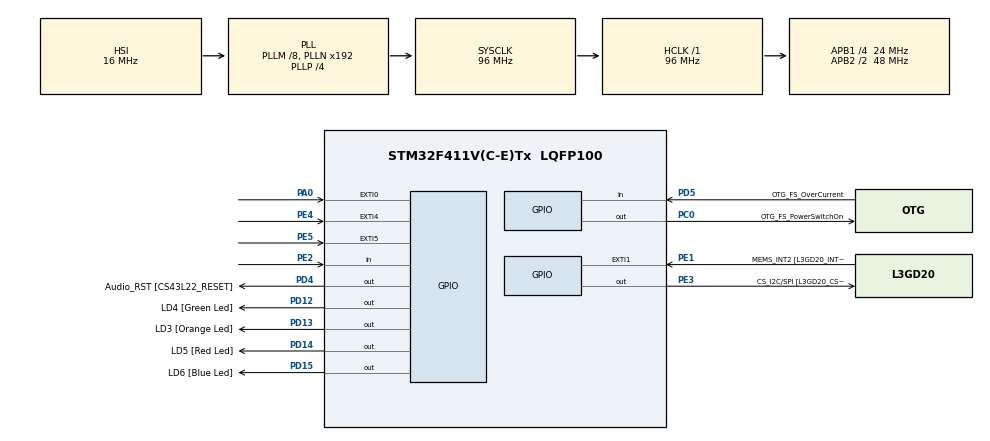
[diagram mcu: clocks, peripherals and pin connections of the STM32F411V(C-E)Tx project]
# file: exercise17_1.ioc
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FREERTOS.BinarySemaphores01=myBinarySem01,Dynamic,NULL
FREERTOS.Tasks01=RedLED,0,128,StartRedLED,Default,NULL,Dynamic,NULL,NULL;GreenLED,0,128,StartGreenLED,Default,NULL,Dynamic,NULL,NULL;BlueLED,0,128,StartBlueLED,Default,NULL,Dynamic,NULL,NULL
Mcu.Family=STM32F4
Mcu.Name=STM32F411V(C-E)Tx
Mcu.Package=LQFP100
NVIC.PriorityGroup=NVIC_PRIORITYGROUP_4
NVIC.TIM1_UP_TIM10_IRQn=true\:0\:0\:false\:false\:true\:false\:false\:true
NVIC.TimeBase=TIM1_UP_TIM10_IRQn
NVIC.TimeBaseIP=TIM1
PA0-WKUP.GPIO_ModeDefaultEXTI=GPIO_MODE_EVT_RISING
PA0-WKUP.Signal=GPXTI0
PA10.GPIO_Label=OTG_FS_ID
PA10.Signal=USB_OTG_FS_ID
PA11.GPIO_Label=OTG_FS_DM
PA11.Signal=USB_OTG_FS_DM
PA12.GPIO_Label=OTG_FS_DP
PA12.Signal=USB_OTG_FS_DP
PA13.GPIO_Label=SWDIO
PA13.Signal=SYS_JTMS-SWDIO
PA14.GPIO_Label=SWCLK
PA14.Signal=SYS_JTCK-SWCLK
PA4.GPIO_Label=I2S3_WS [CS43L22_LRCK]
PA4.GPIO_Mode=GPIO_MODE_AF_PP
PA4.GPIO_PuPd=GPIO_NOPULL
PA4.GPIO_Speed=GPIO_SPEED_FREQ_LOW
PA4.Signal=I2S3_WS
PA5.GPIO_Label=SPI1_SCK [L3GD20_SC/SPC]
PA5.Signal=SPI1_SCK
PA6.GPIO_Label=SPI1_MISO [L3GD20_AS0/SDO]
PA6.Signal=SPI1_MISO
PA7.GPIO_Label=SPI1_MOSI [L3GD20_SDA/SDI/SDO]
PA7.Signal=SPI1_MOSI
PA9.GPIO_Label=VBUS_FS
PA9.Signal=USB_OTG_FS_VBUS
PB10.GPIO_Label=CLK_IN [MP45DT02_CLK]
PB10.Signal=I2S2_CK
PB12.Signal=I2S2_WS
PB3.GPIO_Label=SWO
PB3.Signal=SYS_JTDO-SWO
PB6.GPIO_Label=Audio_SCL [CS43L22_SCL]
PB6.GPIO_Mode=GPIO_MODE_AF_OD
PB6.GPIO_PuPd=GPIO_NOPULL
PB6.GPIO_Speed=GPIO_SPEED_FREQ_LOW
PB6.Signal=I2C1_SCL
PB9.GPIO_Label=Audio_SDA [CS43L22_SDA]
PB9.GPIO_Mode=GPIO_MODE_AF_OD
PB9.GPIO_PuPd=GPIO_NOPULL
PB9.GPIO_Speed=GPIO_SPEED_FREQ_LOW
PB9.Signal=I2C1_SDA
PC0.GPIO_Label=OTG_FS_PowerSwitchOn
PC0.PinState=GPIO_PIN_SET
PC0.Signal=GPIO_Output
PC10.GPIO_Label=I2S3_SCK [CS43L22_SCLK]
PC10.GPIO_Mode=GPIO_MODE_AF_PP
PC10.GPIO_PuPd=GPIO_NOPULL
PC10.GPIO_Speed=GPIO_SPEED_FREQ_LOW
PC10.Signal=I2S3_CK
PC12.GPIO_Label=I2S3_SD [CS43L22_SDIN]
PC12.GPIO_Mode=GPIO_MODE_AF_PP
PC12.GPIO_PuPd=GPIO_NOPULL
PC12.GPIO_Speed=GPIO_SPEED_FREQ_LOW
PC12.Signal=I2S3_SD
PC14-OSC32_IN.GPIO_Label=PC14-OSC32_IN
PC14-OSC32_IN.Signal=RCC_OSC32_IN
PC15-OSC32_OUT.GPIO_Label=PC15-OSC32_OUT
PC15-OSC32_OUT.Signal=RCC_OSC32_OUT
PC3.GPIO_Label=PDM_OUT [MP45DT02_DOUT]
PC3.Signal=I2S2_SD
PC7.GPIO_Label=I2S3_MCK [CS43L22_MCLK]
PC7.GPIO_Mode=GPIO_MODE_AF_PP
PC7.GPIO_PuPd=GPIO_NOPULL
PC7.GPIO_Speed=GPIO_SPEED_FREQ_LOW
PC7.Signal=I2S3_MCK
PD12.GPIO_Label=LD4 [Green Led]
PD12.GPIO_PuPd=GPIO_NOPULL
PD12.GPIO_Speed=GPIO_SPEED_FREQ_LOW
PD12.Signal=GPIO_Output
PD13.GPIO_Label=LD3 [Orange Led]
PD13.GPIO_PuPd=GPIO_NOPULL
PD13.GPIO_Speed=GPIO_SPEED_FREQ_LOW
PD13.Signal=GPIO_Output
PD14.GPIO_Label=LD5 [Red Led]
PD14.GPIO_PuPd=GPIO_NOPULL
PD14.GPIO_Speed=GPIO_SPEED_FREQ_LOW
PD14.Signal=GPIO_Output
PD15.GPIO_Label=LD6 [Blue Led]
PD15.GPIO_PuPd=GPIO_NOPULL
PD15.GPIO_Speed=GPIO_SPEED_FREQ_LOW
PD15.Signal=GPIO_Output
PD4.GPIO_Label=Audio_RST [CS43L22_RESET]
PD4.Signal=GPIO_Output
PD5.GPIO_Label=OTG_FS_OverCurrent
PD5.Signal=GPIO_Input
PE1.GPIO_Label=MEMS_INT2 [L3GD20_INT2]
PE1.GPIO_ModeDefaultEXTI=GPIO_MODE_EVT_RISING
PE1.Signal=GPXTI1
PE2.Signal=GPIO_Input
PE3.GPIO_Label=CS_I2C/SPI [L3GD20_CS_I2C/SPI]
PE3.Signal=GPIO_Output
PE4.GPIO_ModeDefaultEXTI=GPIO_MODE_EVT_RISING
PE4.Signal=GPXTI4
PE5.GPIO_ModeDefaultEXTI=GPIO_MODE_EVT_RISING
PE5.Signal=GPXTI5
PH0\ -\ OSC_IN.GPIO_Label=PH0-OSC_IN
PH0\ -\ OSC_IN.Signal=RCC_OSC_IN
PH1\ -\ OSC_OUT.GPIO_Label=PH1-OSC_OUT
PH1\ -\ OSC_OUT.Signal=RCC_OSC_OUT
ProjectManager.HeapSize=0x200
ProjectManager.StackSize=0x400
ProjectManager.TargetToolchain=STM32CubeIDE
RCC.48MHZClocksFreq_Value=48000000
RCC.AHBFreq_Value=96000000
RCC.APB1CLKDivider=RCC_HCLK_DIV4
RCC.APB1Freq_Value=24000000
RCC.APB1TimFreq_Value=48000000
RCC.APB2CLKDivider=RCC_HCLK_DIV2
RCC.APB2Freq_Value=48000000
RCC.APB2TimFreq_Value=96000000
RCC.CortexFreq_Value=96000000
RCC.HCLKFreq_Value=96000000
RCC.HSE_VALUE=8000000
RCC.HSI_VALUE=16000000
RCC.LSE_VALUE=32768
RCC.PLLI2SM=5
RCC.PLLI2SN=200
RCC.PLLM=8
RCC.PLLP=RCC_PLLP_DIV4
RCC.PLLQ=8
RCC.SYSCLKFreq_VALUE=96000000
RCC.SYSCLKSource=RCC_SYSCLKSOURCE_PLLCLK
RCC.VCOOutputFreq_Value=384000000
VP_FREERTOS_VS_CMSIS_V1.Mode=CMSIS_V1
VP_SYS_VS_tim1.Mode=TIM1
board=STM32F411E-DISCO

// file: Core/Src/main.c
/* USER CODE BEGIN Header */
/**
  ******************************************************************************
  * @file           : main.c
  * @brief          : Main program body
  ******************************************************************************
  * @attention
  *
  * <h2><center>&copy; Copyright (c) 2021 STMicroelectronics.
  * All rights reserved.</center></h2>
  *
  * This software component is licensed by ST under BSD 3-Clause license,
  * the "License"; You may not use this file except in compliance with the
  * License. You may obtain a copy of the License at:
  *                        opensource.org/licenses/BSD-3-Clause
  *
  ******************************************************************************
  */
/* USER CODE END Header */

#include "main.h"
#include "cmsis_os.h"

#define RED GPIO_PIN_14
#define GREEN GPIO_PIN_12
#define BLUE GPIO_PIN_15

osThreadId RedLEDHandle;
osThreadId GreenLEDHandle;
osThreadId BlueLEDHandle;
osSemaphoreId myBinarySem01Handle;

void SystemClock_Config(void);
static void MX_GPIO_Init(void);
void StartRedLED(void const * argument);
void StartGreenLED(void const * argument);
void StartBlueLED(void const * argument);

int main(void)
{

  /* MCU Configuration--------------------------------------------------------*/

  /* Reset of all peripherals, Initializes the Flash interface and the Systick. */
  HAL_Init();

  /* Configure the system clock */
  SystemClock_Config();

  /* Initialize all configured peripherals */
  MX_GPIO_Init();

  /* Create the semaphores(s) */
  /* definition and creation of myBinarySem01 */
  osSemaphoreDef(myBinarySem01);
  myBinarySem01Handle = osSemaphoreCreate(osSemaphore(myBinarySem01), 1);

  /* USER CODE BEGIN RTOS_SEMAPHORES */
  osSemaphoreWait(myBinarySem01Handle, 0);
  /* USER CODE END RTOS_SEMAPHORES */

  /* Create the thread(s) */
  /* definition and creation of RedLED */
  osThreadDef(RedLED, StartRedLED, osPriorityNormal, 0, 128);
  RedLEDHandle = osThreadCreate(osThread(RedLED), NULL);

  /* definition and creation of GreenLED */
  osThreadDef(GreenLED, StartGreenLED, osPriorityNormal, 0, 128);
  GreenLEDHandle = osThreadCreate(osThread(GreenLED), NULL);

  /* definition and creation of BlueLED */
  osThreadDef(BlueLED, StartBlueLED, osPriorityNormal, 0, 128);
  BlueLEDHandle = osThreadCreate(osThread(BlueLED), NULL);

  /* Start scheduler */
  osKernelStart();

  /* We should never get here as control is now taken by the scheduler */

  /* Infinite loop */
  while (1)
  {

  }
}

void SystemClock_Config(void)
{
  RCC_OscInitTypeDef RCC_OscInitStruct = {0};
  RCC_ClkInitTypeDef RCC_ClkInitStruct = {0};

  /** Configure the main internal regulator output voltage
  */
  __HAL_RCC_PWR_CLK_ENABLE();
  __HAL_PWR_VOLTAGESCALING_CONFIG(PWR_REGULATOR_VOLTAGE_SCALE1);
  /** Initializes the CPU, AHB and APB busses clocks
  */
  RCC_OscInitStruct.OscillatorType = RCC_OSCILLATORTYPE_HSI;
  RCC_OscInitStruct.HSIState = RCC_HSI_ON;
  RCC_OscInitStruct.HSICalibrationValue = RCC_HSICALIBRATION_DEFAULT;
  RCC_OscInitStruct.PLL.PLLState = RCC_PLL_ON;
  RCC_OscInitStruct.PLL.PLLSource = RCC_PLLSOURCE_HSI;
  RCC_OscInitStruct.PLL.PLLM = 8;
  RCC_OscInitStruct.PLL.PLLN = 192;
  RCC_OscInitStruct.PLL.PLLP = RCC_PLLP_DIV4;
  RCC_OscInitStruct.PLL.PLLQ = 8;
  if (HAL_RCC_OscConfig(&RCC_OscInitStruct) != HAL_OK)
  {
    Error_Handler();
  }
  /** Initializes the CPU, AHB and APB busses clocks
  */
  RCC_ClkInitStruct.ClockType = RCC_CLOCKTYPE_HCLK|RCC_CLOCKTYPE_SYSCLK
                              |RCC_CLOCKTYPE_PCLK1|RCC_CLOCKTYPE_PCLK2;
  RCC_ClkInitStruct.SYSCLKSource = RCC_SYSCLKSOURCE_PLLCLK;
  RCC_ClkInitStruct.AHBCLKDivider = RCC_SYSCLK_DIV1;
  RCC_ClkInitStruct.APB1CLKDivider = RCC_HCLK_DIV4;
  RCC_ClkInitStruct.APB2CLKDivider = RCC_HCLK_DIV2;

  if (HAL_RCC_ClockConfig(&RCC_ClkInitStruct, FLASH_LATENCY_3) != HAL_OK)
  {
    Error_Handler();
  }
}

static void MX_GPIO_Init(void)
{
  GPIO_InitTypeDef GPIO_InitStruct = {0};

  /* GPIO Ports Clock Enable */
  __HAL_RCC_GPIOE_CLK_ENABLE();
  __HAL_RCC_GPIOC_CLK_ENABLE();
  __HAL_RCC_GPIOH_CLK_ENABLE();
  __HAL_RCC_GPIOA_CLK_ENABLE();
  __HAL_RCC_GPIOB_CLK_ENABLE();
  __HAL_RCC_GPIOD_CLK_ENABLE();

  /*Configure GPIO pin Output Level */
  HAL_GPIO_WritePin(CS_I2C_SPI_GPIO_Port, CS_I2C_SPI_Pin, GPIO_PIN_RESET);

  /*Configure GPIO pin Output Level */
  HAL_GPIO_WritePin(OTG_FS_PowerSwitchOn_GPIO_Port, OTG_FS_PowerSwitchOn_Pin, GPIO_PIN_SET);

  /*Configure GPIO pin Output Level */
  HAL_GPIO_WritePin(GPIOD, LD4_Pin|LD3_Pin|LD5_Pin|LD6_Pin
                          |Audio_RST_Pin, GPIO_PIN_RESET);

  /*Configure GPIO pin : PE2 */
  GPIO_InitStruct.Pin = GPIO_PIN_2;
  GPIO_InitStruct.Mode = GPIO_MODE_INPUT;
  GPIO_InitStruct.Pull = GPIO_NOPULL;
  HAL_GPIO_Init(GPIOE, &GPIO_InitStruct);

  /*Configure GPIO pin : CS_I2C_SPI_Pin */
  GPIO_InitStruct.Pin = CS_I2C_SPI_Pin;
  GPIO_InitStruct.Mode = GPIO_MODE_OUTPUT_PP;
  GPIO_InitStruct.Pull = GPIO_NOPULL;
  GPIO_InitStruct.Speed = GPIO_SPEED_FREQ_LOW;
  HAL_GPIO_Init(CS_I2C_SPI_GPIO_Port, &GPIO_InitStruct);

  /*Configure GPIO pins : PE4 PE5 MEMS_INT2_Pin */
  GPIO_InitStruct.Pin = GPIO_PIN_4|GPIO_PIN_5|MEMS_INT2_Pin;
  GPIO_InitStruct.Mode = GPIO_MODE_EVT_RISING;
  GPIO_InitStruct.Pull = GPIO_NOPULL;
  HAL_GPIO_Init(GPIOE, &GPIO_InitStruct);

  /*Configure GPIO pin : OTG_FS_PowerSwitchOn_Pin */
  GPIO_InitStruct.Pin = OTG_FS_PowerSwitchOn_Pin;
  GPIO_InitStruct.Mode = GPIO_MODE_OUTPUT_PP;
  GPIO_InitStruct.Pull = GPIO_NOPULL;
  GPIO_InitStruct.Speed = GPIO_SPEED_FREQ_LOW;
  HAL_GPIO_Init(OTG_FS_PowerSwitchOn_GPIO_Port, &GPIO_InitStruct);

  /*Configure GPIO pin : PDM_OUT_Pin */
  GPIO_InitStruct.Pin = PDM_OUT_Pin;
  GPIO_InitStruct.Mode = GPIO_MODE_AF_PP;
  GPIO_InitStruct.Pull = GPIO_NOPULL;
  GPIO_InitStruct.Speed = GPIO_SPEED_FREQ_LOW;
  GPIO_InitStruct.Alternate = GPIO_AF5_SPI2;
  HAL_GPIO_Init(PDM_OUT_GPIO_Port, &GPIO_InitStruct);

  /*Configure GPIO pin : PA0 */
  GPIO_InitStruct.Pin = GPIO_PIN_0;
  GPIO_InitStruct.Mode = GPIO_MODE_EVT_RISING;
  GPIO_InitStruct.Pull = GPIO_NOPULL;
  HAL_GPIO_Init(GPIOA, &GPIO_InitStruct);

  /*Configure GPIO pin : I2S3_WS_Pin */
  GPIO_InitStruct.Pin = I2S3_WS_Pin;
  GPIO_InitStruct.Mode = GPIO_MODE_AF_PP;
  GPIO_InitStruct.Pull = GPIO_NOPULL;
  GPIO_InitStruct.Speed = GPIO_SPEED_FREQ_LOW;
  GPIO_InitStruct.Alternate = GPIO_AF6_SPI3;
  HAL_GPIO_Init(I2S3_WS_GPIO_Port, &GPIO_InitStruct);

  /*Configure GPIO pins : SPI1_SCK_Pin SPI1_MISO_Pin SPI1_MOSI_Pin */
  GPIO_InitStruct.Pin = SPI1_SCK_Pin|SPI1_MISO_Pin|SPI1_MOSI_Pin;
  GPIO_InitStruct.Mode = GPIO_MODE_AF_PP;
  GPIO_InitStruct.Pull = GPIO_NOPULL;
  GPIO_InitStruct.Speed = GPIO_SPEED_FREQ_VERY_HIGH;
  GPIO_InitStruct.Alternate = GPIO_AF5_SPI1;
  HAL_GPIO_Init(GPIOA, &GPIO_InitStruct);

  /*Configure GPIO pins : CLK_IN_Pin PB12 */
  GPIO_InitStruct.Pin = CLK_IN_Pin|GPIO_PIN_12;
  GPIO_InitStruct.Mode = GPIO_MODE_AF_PP;
  GPIO_InitStruct.Pull = GPIO_NOPULL;
  GPIO_InitStruct.Speed = GPIO_SPEED_FREQ_LOW;
  GPIO_InitStruct.Alternate = GPIO_AF5_SPI2;
  HAL_GPIO_Init(GPIOB, &GPIO_InitStruct);

  /*Configure GPIO pins : LD4_Pin LD3_Pin LD5_Pin LD6_Pin
                           Audio_RST_Pin */
  GPIO_InitStruct.Pin = LD4_Pin|LD3_Pin|LD5_Pin|LD6_Pin
                          |Audio_RST_Pin;
  GPIO_InitStruct.Mode = GPIO_MODE_OUTPUT_PP;
  GPIO_InitStruct.Pull = GPIO_NOPULL;
  GPIO_InitStruct.Speed = GPIO_SPEED_FREQ_LOW;
  HAL_GPIO_Init(GPIOD, &GPIO_InitStruct);

  /*Configure GPIO pins : I2S3_MCK_Pin I2S3_SCK_Pin I2S3_SD_Pin */
  GPIO_InitStruct.Pin = I2S3_MCK_Pin|I2S3_SCK_Pin|I2S3_SD_Pin;
  GPIO_InitStruct.Mode = GPIO_MODE_AF_PP;
  GPIO_InitStruct.Pull = GPIO_NOPULL;
  GPIO_InitStruct.Speed = GPIO_SPEED_FREQ_LOW;
  GPIO_InitStruct.Alternate = GPIO_AF6_SPI3;
  HAL_GPIO_Init(GPIOC, &GPIO_InitStruct);

  /*Configure GPIO pin : VBUS_FS_Pin */
  GPIO_InitStruct.Pin = VBUS_FS_Pin;
  GPIO_InitStruct.Mode = GPIO_MODE_INPUT;
  GPIO_InitStruct.Pull = GPIO_NOPULL;
  HAL_GPIO_Init(VBUS_FS_GPIO_Port, &GPIO_InitStruct);

  /*Configure GPIO pins : OTG_FS_ID_Pin OTG_FS_DM_Pin OTG_FS_DP_Pin */
  GPIO_InitStruct.Pin = OTG_FS_ID_Pin|OTG_FS_DM_Pin|OTG_FS_DP_Pin;
  GPIO_InitStruct.Mode = GPIO_MODE_AF_PP;
  GPIO_InitStruct.Pull = GPIO_NOPULL;
  GPIO_InitStruct.Speed = GPIO_SPEED_FREQ_VERY_HIGH;
  GPIO_InitStruct.Alternate = GPIO_AF10_OTG_FS;
  HAL_GPIO_Init(GPIOA, &GPIO_InitStruct);

  /*Configure GPIO pin : OTG_FS_OverCurrent_Pin */
  GPIO_InitStruct.Pin = OTG_FS_OverCurrent_Pin;
  GPIO_InitStruct.Mode = GPIO_MODE_INPUT;
  GPIO_InitStruct.Pull = GPIO_NOPULL;
  HAL_GPIO_Init(OTG_FS_OverCurrent_GPIO_Port, &GPIO_InitStruct);

  /*Configure GPIO pins : Audio_SCL_Pin Audio_SDA_Pin */
  GPIO_InitStruct.Pin = Audio_SCL_Pin|Audio_SDA_Pin;
  GPIO_InitStruct.Mode = GPIO_MODE_AF_OD;
  GPIO_InitStruct.Pull = GPIO_PULLUP;
  GPIO_InitStruct.Speed = GPIO_SPEED_FREQ_LOW;
  GPIO_InitStruct.Alternate = GPIO_AF4_I2C1;
  HAL_GPIO_Init(GPIOB, &GPIO_InitStruct);

}

/* USER CODE BEGIN 4 */
int TaskCounter = 1;

void Barrier(){
	const int N = 3;

	if(TaskCounter < N){
		++TaskCounter;
		osSemaphoreWait(myBinarySem01Handle, osWaitForever);
	}else if(TaskCounter == 3){
		for(int i = 0; i < N-1; i++){
			osSemaphoreRelease(myBinarySem01Handle);
			osDelay(10);
		}
		TaskCounter = 1;
	}
}

/* USER CODE END 4 */

void StartRedLED(void const * argument)
{
  /* USER CODE BEGIN 5 */
  /* Infinite loop */
  for(;;)
  {
    for(int i = 0; i < 200*2; i++){
    	HAL_GPIO_TogglePin(GPIOD, RED);
    	osDelay(50);
    }
    Barrier();
    for(int i = 0; i < 8*2; i++){
    	HAL_GPIO_TogglePin(GPIOD, RED);
    	osDelay(500);
    }
    Barrier();
    for(int i = 0; i < 100*2; i++){
    	HAL_GPIO_TogglePin(GPIOD, RED);
    	osDelay(100);
    }
    Barrier();
  }
  /* USER CODE END 5 */
}

void StartGreenLED(void const * argument)
{
  /* USER CODE BEGIN StartGreenLED */
  /* Infinite loop */
  for(;;)
  {
	  for(int i = 0; i < 120*2; i++){
		  HAL_GPIO_TogglePin(GPIOD, GREEN);
		  osDelay(50);
	  }
	  Barrier();
	  for(int i = 0; i < 20*2; i++){
		  HAL_GPIO_TogglePin(GPIOD, GREEN);
		  osDelay(500);
	  }
	  Barrier();
	  for(int i = 0; i < 40*2; i++){
		  HAL_GPIO_TogglePin(GPIOD, GREEN);
		  osDelay(100);
	  }
	  Barrier();
  }
  /* USER CODE END StartGreenLED */
}

void StartBlueLED(void const * argument)
{
  /* USER CODE BEGIN StartBlueLED */
  /* Infinite loop */
  for(;;)
  {
	  for(int i = 0; i < 80*2; i++){
	    HAL_GPIO_TogglePin(GPIOD, BLUE);
	    osDelay(50);
	  }
	  Barrier();
	  for(int i = 0; i < 12*2; i++){
	    HAL_GPIO_TogglePin(GPIOD, BLUE);
	    osDelay(500);
	  }
	  Barrier();
	  for(int i = 0; i < 60*2; i++){
	    HAL_GPIO_TogglePin(GPIOD, BLUE);
	    osDelay(100);
	  }
	  Barrier();
  }
  /* USER CODE END StartBlueLED */
}

void HAL_TIM_PeriodElapsedCallback(TIM_HandleTypeDef *htim)
{
  if (htim->Instance == TIM1) {
    HAL_IncTick();
  }
}

void Error_Handler(void)
{
}

/************************ (C) COPYRIGHT STMicroelectronics *****END OF FILE****/
